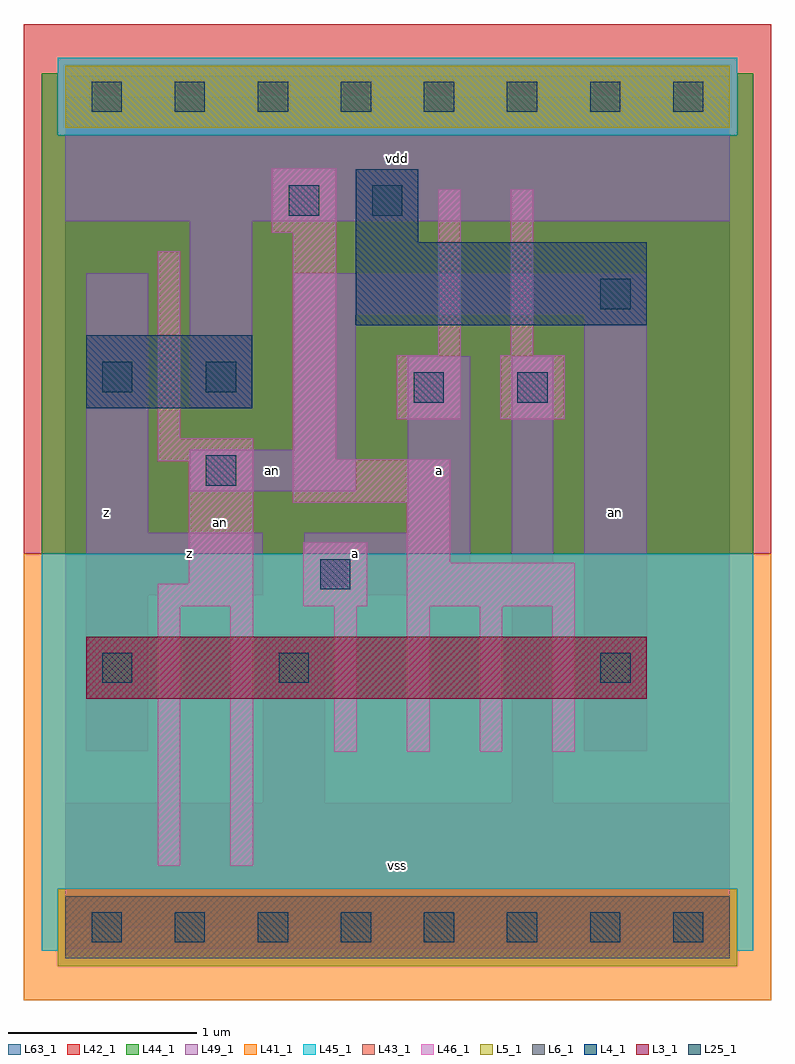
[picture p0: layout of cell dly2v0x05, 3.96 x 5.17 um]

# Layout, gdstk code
import gdstk
lib = gdstk.Library(unit=1e-6, precision=1e-09)
def R(c, l, rs):  # rectangles x0, y0, x1, y1
    for r in rs: c.add(gdstk.rectangle(r[:2], r[2:], *l))
def A(c, l, x, y, w, h, nx, ny, dx, dy):  # array of equal rectangles
    R(c, l, [(x+i*dx, y+j*dy, x+i*dx+w, y+j*dy+h) for i in range(nx) for j in range(ny)])
L3_1 = (3, 1)
L4_1 = (4, 1)
L5_1 = (5, 1)
L6_1 = (6, 1)
L25_1 = (25, 1)
L41_1 = (41, 1)
L42_1 = (42, 1)
L43_1 = (43, 1)
L44_1 = (44, 1)
L45_1 = (45, 1)
L46_1 = (46, 1)
L49_1 = (49, 1)
L63_1 = (63, 1)

dly2v0x05 = lib.new_cell('dly2v0x05')
R(dly2v0x05, L3_1, [(0.11,1.21,3.08,1.54)])
R(dly2v0x05, L4_1, [(0.11,2.75,0.99,3.135), (1.54,3.19,3.08,3.63), (1.54,3.63,1.87,4.015)])
R(dly2v0x05, L5_1, [(0,4.235,3.52,4.565)])
R(dly2v0x05, L6_1, [(0,-0.165,3.52,0.165)])
A(dly2v0x05, L25_1, 0.14, -0.08, 0.16, 0.16, 8, 2, 0.44, 4.4)
R(dly2v0x05, L25_1, [(0.195,1.295,0.355,1.455), (1.13,1.295,1.29,1.455), (2.835,1.295,2.995,1.455), (1.35,1.79,1.51,1.95), (0.745,2.34,0.905,2.5), (1.845,2.78,2.005,2.94), (2.395,2.78,2.555,2.94), (0.195,2.835,0.355,2.995), (0.745,2.835,0.905,2.995), (2.835,3.275,2.995,3.435), (1.185,3.77,1.345,3.93), (1.625,3.77,1.785,3.93)])
R(dly2v0x05, L41_1, [(-0.22,-0.385,3.74,1.98)])
R(dly2v0x05, L42_1, [(-0.22,1.98,3.74,4.785)])
R(dly2v0x05, L43_1, [(0,-0.165,3.52,0.165), (0.11,1.21,3.08,1.54), (0.11,2.75,0.99,3.135), (1.54,3.19,3.08,3.63), (1.54,3.63,1.87,4.015), (0,4.235,3.52,4.565)])
R(dly2v0x05, L44_1, [(-0.04,-0.205,3.56,0.205), (-0.125,1.98,3.645,4.195), (-0.125,4.195,-0.04,4.525), (3.56,4.195,3.645,4.525)])
R(dly2v0x05, L45_1, [(-0.125,-0.125,-0.04,0.205), (3.56,-0.125,3.645,0.205), (-0.125,0.205,3.645,1.98), (-0.04,4.195,3.56,4.605)])
A(dly2v0x05, L46_1, 1.425, 0.93, 0.12, 0.77, 4, 1, 0.385, 0)
R(dly2v0x05, L46_1, [(0.49,0.325,0.61,1.7), (0.875,0.325,0.995,1.7), (0.49,1.7,0.995,1.82), (1.26,1.7,1.6,2.04), (1.81,1.7,2.7,1.93), (0.655,1.82,0.995,2.47), (1.81,1.93,2.04,2.25), (1.205,2.25,2.04,2.48), (0.49,2.47,0.995,2.59), (1.205,2.48,1.435,3.68), (0.49,2.59,0.61,3.58), (1.755,2.69,2.095,3.03), (2.305,2.69,2.645,3.03), (1.975,3.03,2.095,3.91), (2.36,3.03,2.48,3.91), (1.095,3.68,1.435,4.02)])
R(dly2v0x05, L49_1, [(0,-0.11,3.52,0.66), (1.045,0.66,1.375,1.54), (2.365,0.66,2.585,3.025), (0.11,0.935,0.44,1.76), (2.75,0.935,3.08,3.245), (0.11,1.76,1.045,2.09), (1.265,1.76,2.145,2.09), (0.11,2.09,0.44,3.465), (1.815,2.09,2.145,3.025), (0.66,2.31,1.54,2.53), (1.21,2.53,1.54,3.245), (0.66,2.75,0.99,3.74), (1.21,3.245,3.08,3.465), (0,3.74,3.52,4.51)])
R(dly2v0x05, L63_1, [(0,0,3.52,4.4)])
dly2v0x05.add(gdstk.Label('an', (0.825,2.145), layer=46, texttype=1))
dly2v0x05.add(gdstk.Label('z', (0.66,1.98), layer=49, texttype=1))
dly2v0x05.add(gdstk.Label('z', (0.22,2.2), layer=49, texttype=1))
dly2v0x05.add(gdstk.Label('a', (1.54,1.98), layer=49, texttype=1))
dly2v0x05.add(gdstk.Label('an', (1.1,2.42), layer=49, texttype=1))
dly2v0x05.add(gdstk.Label('vss', (1.76,0.33), layer=49, texttype=1))
dly2v0x05.add(gdstk.Label('a', (1.98,2.42), layer=49, texttype=1))
dly2v0x05.add(gdstk.Label('vdd', (1.76,4.07), layer=49, texttype=1))
dly2v0x05.add(gdstk.Label('an', (2.915,2.2), layer=49, texttype=1))

lib.write_gds('dly2v0x05.gds')
